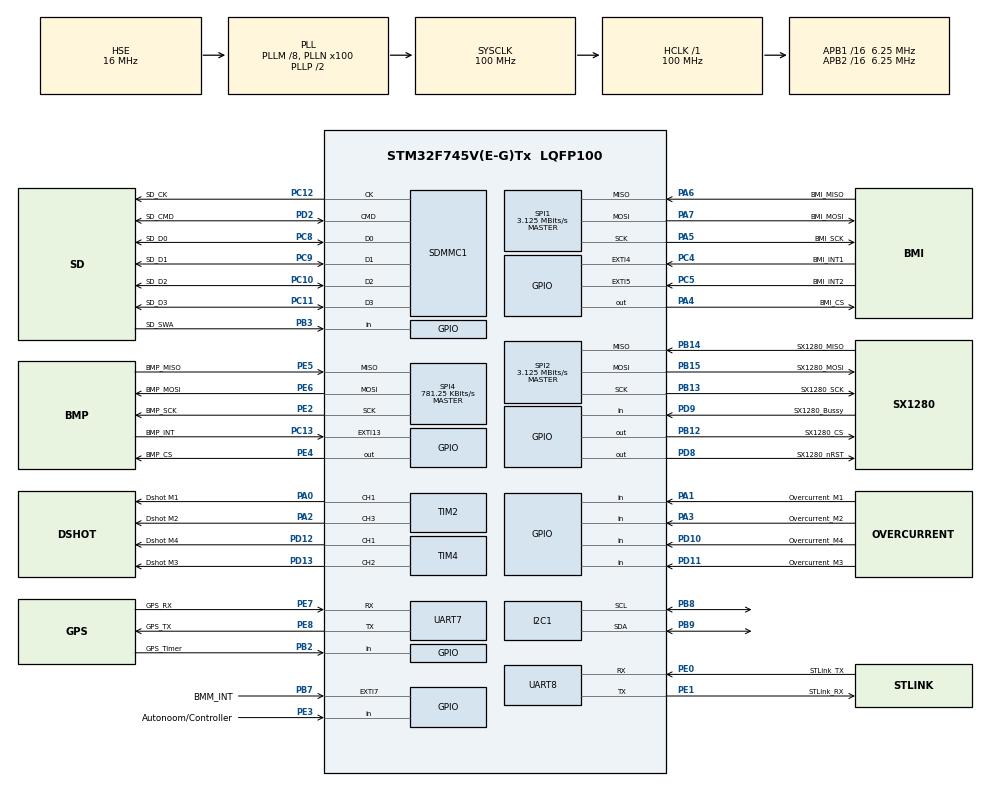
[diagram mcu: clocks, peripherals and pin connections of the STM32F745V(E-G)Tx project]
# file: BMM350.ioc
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CORTEX_M7.default_mode_Activation=1
Dma.Request0=TIM4_CH1
Dma.Request1=TIM4_CH2
Dma.Request2=TIM2_UP/CH3
Dma.Request3=TIM2_CH1
Dma.TIM2_CH1.3.Direction=DMA_MEMORY_TO_PERIPH
Dma.TIM2_CH1.3.FIFOMode=DMA_FIFOMODE_DISABLE
Dma.TIM2_CH1.3.Instance=DMA1_Stream5
Dma.TIM2_CH1.3.MemDataAlignment=DMA_MDATAALIGN_WORD
Dma.TIM2_CH1.3.MemInc=DMA_MINC_ENABLE
Dma.TIM2_CH1.3.Mode=DMA_NORMAL
Dma.TIM2_CH1.3.PeriphDataAlignment=DMA_PDATAALIGN_WORD
Dma.TIM2_CH1.3.PeriphInc=DMA_PINC_DISABLE
Dma.TIM2_CH1.3.Priority=DMA_PRIORITY_VERY_HIGH
Dma.TIM2_UP/CH3.2.Direction=DMA_MEMORY_TO_PERIPH
Dma.TIM2_UP/CH3.2.FIFOMode=DMA_FIFOMODE_DISABLE
Dma.TIM2_UP/CH3.2.Instance=DMA1_Stream1
Dma.TIM2_UP/CH3.2.MemDataAlignment=DMA_MDATAALIGN_WORD
Dma.TIM2_UP/CH3.2.MemInc=DMA_MINC_ENABLE
Dma.TIM2_UP/CH3.2.Mode=DMA_NORMAL
Dma.TIM2_UP/CH3.2.PeriphDataAlignment=DMA_PDATAALIGN_WORD
Dma.TIM2_UP/CH3.2.PeriphInc=DMA_PINC_DISABLE
Dma.TIM2_UP/CH3.2.Priority=DMA_PRIORITY_VERY_HIGH
Dma.TIM4_CH1.0.Direction=DMA_MEMORY_TO_PERIPH
Dma.TIM4_CH1.0.FIFOMode=DMA_FIFOMODE_DISABLE
Dma.TIM4_CH1.0.Instance=DMA1_Stream0
Dma.TIM4_CH1.0.MemDataAlignment=DMA_MDATAALIGN_HALFWORD
Dma.TIM4_CH1.0.MemInc=DMA_MINC_ENABLE
Dma.TIM4_CH1.0.Mode=DMA_NORMAL
Dma.TIM4_CH1.0.PeriphDataAlignment=DMA_PDATAALIGN_HALFWORD
Dma.TIM4_CH1.0.PeriphInc=DMA_PINC_DISABLE
Dma.TIM4_CH1.0.Priority=DMA_PRIORITY_VERY_HIGH
Dma.TIM4_CH2.1.Direction=DMA_MEMORY_TO_PERIPH
Dma.TIM4_CH2.1.FIFOMode=DMA_FIFOMODE_DISABLE
Dma.TIM4_CH2.1.Instance=DMA1_Stream3
Dma.TIM4_CH2.1.MemDataAlignment=DMA_MDATAALIGN_HALFWORD
Dma.TIM4_CH2.1.MemInc=DMA_MINC_ENABLE
Dma.TIM4_CH2.1.Mode=DMA_NORMAL
Dma.TIM4_CH2.1.PeriphDataAlignment=DMA_PDATAALIGN_HALFWORD
Dma.TIM4_CH2.1.PeriphInc=DMA_PINC_DISABLE
Dma.TIM4_CH2.1.Priority=DMA_PRIORITY_VERY_HIGH
FATFS.BSP.number=1
FATFS0.BSP.STBoard=false
FATFS0.BSP.api=Unknown
FATFS0.BSP.instance=PB3
FATFS0.BSP.ip=GPIO
FATFS0.BSP.mode=Input
FATFS0.BSP.name=Detect_SDIO
FATFS0.BSP.solution=PB3
I2C1.Timing=0x00101622
Mcu.Family=STM32F7
Mcu.Name=STM32F745V(E-G)Tx
Mcu.Package=LQFP100
NVIC.DMA1_Stream0_IRQn=true\:0\:0\:false\:false\:true\:false\:true\:true
NVIC.DMA1_Stream1_IRQn=true\:0\:0\:false\:false\:true\:false\:true\:true
NVIC.DMA1_Stream3_IRQn=true\:0\:0\:false\:false\:true\:false\:true\:true
NVIC.DMA1_Stream5_IRQn=true\:0\:0\:false\:false\:true\:false\:true\:true
NVIC.EXTI15_10_IRQn=true\:0\:0\:false\:false\:true\:true\:true\:true
NVIC.EXTI4_IRQn=true\:3\:0\:true\:false\:true\:true\:true\:true
NVIC.EXTI9_5_IRQn=true\:3\:0\:true\:false\:true\:true\:true\:true
NVIC.PriorityGroup=NVIC_PRIORITYGROUP_4
PA0/WKUP.GPIO_Label=Dshot M1
PA0/WKUP.Signal=S_TIM2_CH1_ETR
PA1.GPIO_Label=Overcurrent_M1
PA1.Signal=GPIO_Input
PA13.GPIO_Label=STLink_DIO
PA13.Mode=Serial_Wire
PA13.Signal=SYS_JTMS-SWDIO
PA14.GPIO_Label=STLink_CLK
PA14.Mode=Serial_Wire
PA14.Signal=SYS_JTCK-SWCLK
PA2.GPIO_Label=Dshot M2
PA2.Signal=S_TIM2_CH3
PA3.GPIO_Label=Overcurrent_M2
PA3.Signal=GPIO_Input
PA4.GPIO_Label=BMI_CS
PA4.Signal=GPIO_Output
PA5.GPIO_Label=BMI_SCK
PA5.Mode=Full_Duplex_Master
PA5.Signal=SPI1_SCK
PA6.GPIO_Label=BMI_MISO
PA6.Mode=Full_Duplex_Master
PA6.Signal=SPI1_MISO
PA7.GPIO_Label=BMI_MOSI
PA7.Mode=Full_Duplex_Master
PA7.Signal=SPI1_MOSI
PB12.GPIO_Label=SX1280_CS
PB12.Signal=GPIO_Output
PB13.GPIO_Label=SX1280_SCK
PB13.Mode=Full_Duplex_Master
PB13.Signal=SPI2_SCK
PB14.GPIO_Label=SX1280_MISO
PB14.Mode=Full_Duplex_Master
PB14.Signal=SPI2_MISO
PB15.GPIO_Label=SX1280_MOSI
PB15.Mode=Full_Duplex_Master
PB15.Signal=SPI2_MOSI
PB2.GPIO_Label=GPS_Timer
PB2.Signal=GPIO_Input
PB3.GPIO_Label=SD_SWA
PB3.Signal=GPIO_Input
PB7.GPIO_Label=BMM_INT
PB7.Signal=GPXTI7
PB8.Mode=I2C
PB8.Signal=I2C1_SCL
PB9.Mode=I2C
PB9.Signal=I2C1_SDA
PC10.GPIO_Label=SD_D2
PC10.Mode=SD_4_bits_Wide_bus
PC10.Signal=SDMMC1_D2
PC11.GPIO_Label=SD_D3
PC11.Mode=SD_4_bits_Wide_bus
PC11.Signal=SDMMC1_D3
PC12.GPIO_Label=SD_CK
PC12.Mode=SD_4_bits_Wide_bus
PC12.Signal=SDMMC1_CK
PC13.GPIO_Label=BMP_INT
PC13.Signal=GPXTI13
PC4.GPIO_Label=BMI_INT1
PC4.Signal=GPXTI4
PC5.GPIO_Label=BMI_INT2
PC5.Signal=GPXTI5
PC8.GPIO_Label=SD_D0
PC8.Mode=SD_4_bits_Wide_bus
PC8.Signal=SDMMC1_D0
PC9.GPIO_Label=SD_D1
PC9.Mode=SD_4_bits_Wide_bus
PC9.Signal=SDMMC1_D1
PD10.GPIO_Label=Overcurrent_M4
PD10.Signal=GPIO_Input
PD11.GPIO_Label=Overcurrent_M3
PD11.Signal=GPIO_Input
PD12.GPIO_Label=Dshot M4
PD12.Signal=S_TIM4_CH1
PD13.GPIO_Label=Dshot M3
PD13.Signal=S_TIM4_CH2
PD2.GPIO_Label=SD_CMD
PD2.Mode=SD_4_bits_Wide_bus
PD2.Signal=SDMMC1_CMD
PD8.GPIO_Label=SX1280_nRST
PD8.Signal=GPIO_Output
PD9.GPIO_Label=SX1280_Bussy
PD9.Signal=GPIO_Input
PE0.GPIO_Label=STLink_TX
PE0.Mode=Asynchronous
PE0.Signal=UART8_RX
PE1.GPIO_Label=STLink_RX
PE1.Mode=Asynchronous
PE1.Signal=UART8_TX
PE2.GPIO_Label=BMP_SCK
PE2.Mode=Full_Duplex_Master
PE2.Signal=SPI4_SCK
PE3.GPIO_Label=Autonoom/Controller
PE3.Signal=GPIO_Input
PE4.GPIO_Label=BMP_CS
PE4.Signal=GPIO_Output
PE5.GPIO_Label=BMP_MISO
PE5.Mode=Full_Duplex_Master
PE5.Signal=SPI4_MISO
PE6.GPIO_Label=BMP_MOSI
PE6.Mode=Full_Duplex_Master
PE6.Signal=SPI4_MOSI
PE7.GPIO_Label=GPS_RX
PE7.Mode=Asynchronous
PE7.Signal=UART7_RX
PE8.GPIO_Label=GPS_TX
PE8.Mode=Asynchronous
PE8.Signal=UART7_TX
PH0/OSC_IN.Mode=HSE-External-Oscillator
PH0/OSC_IN.Signal=RCC_OSC_IN
PH1/OSC_OUT.Mode=HSE-External-Oscillator
PH1/OSC_OUT.Signal=RCC_OSC_OUT
ProjectManager.HeapSize=0x200
ProjectManager.StackSize=0x400
ProjectManager.TargetToolchain=STM32CubeIDE
RCC.AHBFreq_Value=100000000
RCC.APB1CLKDivider=RCC_HCLK_DIV16
RCC.APB1Freq_Value=6250000
RCC.APB1TimFreq_Value=12500000
RCC.APB2CLKDivider=RCC_HCLK_DIV16
RCC.APB2Freq_Value=6250000
RCC.APB2TimFreq_Value=12500000
RCC.CortexFreq_Value=100000000
RCC.HCLKFreq_Value=100000000
RCC.HSE_VALUE=16000000
RCC.HSI_VALUE=16000000
RCC.LSE_VALUE=32768
RCC.PLLM=8
RCC.PLLN=100
RCC.PLLQ=4
RCC.PLLSourceVirtual=RCC_PLLSOURCE_HSE
RCC.SDMMCClockSelection=RCC_SDMMC1CLKSOURCE_CLK48
RCC.SYSCLKFreq_VALUE=100000000
RCC.SYSCLKSource=RCC_SYSCLKSOURCE_PLLCLK
RCC.USBFreq_Value=50000000
RCC.VCOOutputFreq_Value=200000000
SDMMC1.ClockBypass=SDMMC_CLOCK_BYPASS_DISABLE
SH.S_TIM2_CH1_ETR.0=TIM2_CH1,PWM Generation1 CH1
SH.S_TIM2_CH3.0=TIM2_CH3,PWM Generation3 CH3
SH.S_TIM4_CH1.0=TIM4_CH1,PWM Generation1 CH1
SH.S_TIM4_CH2.0=TIM4_CH2,PWM Generation2 CH2
SPI1.CLKPhase=SPI_PHASE_2EDGE
SPI1.CLKPolarity=SPI_POLARITY_HIGH
SPI1.CalculateBaudRate=3.125 MBits/s
SPI1.DataSize=SPI_DATASIZE_8BIT
SPI1.Direction=SPI_DIRECTION_2LINES
SPI1.Mode=SPI_MODE_MASTER
SPI1.VirtualType=VM_MASTER
SPI2.BaudRatePrescaler=SPI_BAUDRATEPRESCALER_2
SPI2.CalculateBaudRate=3.125 MBits/s
SPI2.DataSize=SPI_DATASIZE_8BIT
SPI2.Direction=SPI_DIRECTION_2LINES
SPI2.Mode=SPI_MODE_MASTER
SPI2.NSSPMode=SPI_NSS_PULSE_DISABLE
SPI2.VirtualType=VM_MASTER
SPI4.BaudRatePrescaler=SPI_BAUDRATEPRESCALER_8
SPI4.CLKPhase=SPI_PHASE_1EDGE
SPI4.CLKPolarity=SPI_POLARITY_LOW
SPI4.CalculateBaudRate=781.25 KBits/s
SPI4.DataSize=SPI_DATASIZE_8BIT
SPI4.Direction=SPI_DIRECTION_2LINES
SPI4.Mode=SPI_MODE_MASTER
SPI4.VirtualType=VM_MASTER
TIM2.Channel-PWM\ Generation1\ CH1=TIM_CHANNEL_1
TIM2.Channel-PWM\ Generation3\ CH3=TIM_CHANNEL_3
TIM4.Channel-PWM\ Generation1\ CH1=TIM_CHANNEL_1
TIM4.Channel-PWM\ Generation2\ CH2=TIM_CHANNEL_2
VP_FATFS_VS_SDIO.Mode=SDIO
board=custom

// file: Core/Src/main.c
/* USER CODE BEGIN Header */
/**
  ******************************************************************************
  * @file           : main.c
  * @brief          : Main program body
  ******************************************************************************
  * @attention
  *
  * Copyright (c) 2026 STMicroelectronics.
  * All rights reserved.
  *
  * This software is licensed under terms that can be found in the LICENSE file
  * in the root directory of this software component.
  * If no LICENSE file comes with this software, it is provided AS-IS.
  *
  ******************************************************************************
  */
/* USER CODE END Header */
#include "main.h"
#include "fatfs.h"

/* USER CODE BEGIN Includes */
#include "stdio.h"
#include "bmm350zelf.h"
//#include "BMM350.h"
//#include "BMI330.h"
//#include "pid_regulator.h"
/* USER CODE END Includes */

I2C_HandleTypeDef hi2c1;

SD_HandleTypeDef hsd1;

SPI_HandleTypeDef hspi1;
SPI_HandleTypeDef hspi2;
SPI_HandleTypeDef hspi4;

TIM_HandleTypeDef htim2;
TIM_HandleTypeDef htim4;
DMA_HandleTypeDef hdma_tim2_up_ch3;
DMA_HandleTypeDef hdma_tim2_ch1;
DMA_HandleTypeDef hdma_tim4_ch1;
DMA_HandleTypeDef hdma_tim4_ch2;

UART_HandleTypeDef huart7;
UART_HandleTypeDef huart8;

/* USER CODE BEGIN PV */
//BMP384_Calib calibData;

/*
PID_Handle_t struct_PidRateRoll;
PID_Handle_t struct_PidRatePitch;
PID_Handle_t struct_PidRateYaw;
BMM350_MagData BMM350_Data;
BMI330_Frame current_data;
*/

float g_hoogte;
float g_druk;
float g_hoek;
int g_acc;
int g_gyr;
float alpha = 0.98; // hoe hoger hoe meer de acc gaat doortellen
float dt = 0.02;   // voor 50hz
float gefilterde_hoogte = 0;
float verticale_snelheid = 0;
uint8_t returnwaarde = 0;
BMM350_MagData data;
/* USER CODE END PV */

void SystemClock_Config(void);
static void MPU_Config(void);
static void MX_GPIO_Init(void);
static void MX_DMA_Init(void);
static void MX_SDMMC1_SD_Init(void);
static void MX_SPI1_Init(void);
static void MX_SPI2_Init(void);
static void MX_SPI4_Init(void);
static void MX_TIM2_Init(void);
static void MX_TIM4_Init(void);
static void MX_UART7_Init(void);
static void MX_UART8_Init(void);
static void MX_I2C1_Init(void);

/* USER CODE BEGIN 0 */

volatile int g_new_magn_data = 0;

int _write(int file, char *ptr, int len) {
	for(int i = 0; i < len; i++){
		if(ptr[i]=='\n'){
			HAL_UART_Transmit(&huart8, (uint8_t*)"\r", 1, HAL_MAX_DELAY);
		}
		HAL_UART_Transmit(&huart8, (uint8_t*)&ptr[i], 1, HAL_MAX_DELAY);
	}
    return len;
}
/*
void Update_Altitude_Filter(float baro_hoogte, float acc_z_m_s2) {
    verticale_snelheid += acc_z_m_s2 * dt;
    float voorspelde_hoogte = gefilterde_hoogte + (verticale_snelheid * dt);
    gefilterde_hoogte = (alpha * voorspelde_hoogte) + ((1 - alpha) * baro_hoogte);
}
*/
/* USER CODE END 0 */

int main(void)
{

  /* MPU Configuration--------------------------------------------------------*/
  MPU_Config();

  /* MCU Configuration--------------------------------------------------------*/

  /* Reset of all peripherals, Initializes the Flash interface and the Systick. */
  HAL_Init();

  /* USER CODE BEGIN Init */
 /* Init_RateLoops();

  PID_HandleInit(struct_PidRateRoll);
  PID_HandleInit(struct_PidRatePitch);
  PID_HandleInit(struct_PidRateYaw);
  */
  //BMI330_Init();
  /* USER CODE END Init */

  /* Configure the system clock */
  SystemClock_Config();

  /* Initialize all configured peripherals */
  MX_GPIO_Init();
  MX_DMA_Init();
  MX_SDMMC1_SD_Init();
  MX_SPI1_Init();
  MX_SPI2_Init();
  MX_SPI4_Init();
  MX_TIM2_Init();
  MX_TIM4_Init();
  MX_UART7_Init();
  MX_FATFS_Init();
  MX_UART8_Init();
  MX_I2C1_Init();
  /* USER CODE BEGIN 2 */

  returnwaarde = BMM350_Init();
  while(returnwaarde == -1){
	  returnwaarde = BMM350_Init();
	  printf("Init niet succesvol\n");
  }

  /* USER CODE END 2 */

  /* Infinite loop */
  /* USER CODE BEGIN WHILE */
  while (1)
  {
	  BMM350_ReadReg(BMM350_CHIP_ID, &chip_id, 1);
	  printf("Chip ID is %d != %d\n", chip_id, BMM350_EXPRECTED_ID);

	  BMM350_GetData(&data, 0, 0);
	  printf("BMM Data:\nX: %ld, Y: %ld, Z: %ld\n\n", data.x, data.y, data.z);
	  HAL_Delay(500);
	  if(g_new_magn_data == 1){
		  printf("\n\nNieuwe INT data: ");
		  BMM350_GetData(&data, 0, 0);
		  printf("BMM Data:\nX: %ld, Y: %ld, Z: %ld\n\n\n", data.x, data.y, data.z);
		  g_new_magn_data = 0;
	  }
    /* USER CODE END WHILE */

  }
}

void SystemClock_Config(void)
{
  RCC_OscInitTypeDef RCC_OscInitStruct = {0};
  RCC_ClkInitTypeDef RCC_ClkInitStruct = {0};

  /** Configure the main internal regulator output voltage
  */
  __HAL_RCC_PWR_CLK_ENABLE();
  __HAL_PWR_VOLTAGESCALING_CONFIG(PWR_REGULATOR_VOLTAGE_SCALE3);

  /** Initializes the RCC Oscillators according to the specified parameters
  * in the RCC_OscInitTypeDef structure.
  */
  RCC_OscInitStruct.OscillatorType = RCC_OSCILLATORTYPE_HSE;
  RCC_OscInitStruct.HSEState = RCC_HSE_ON;
  RCC_OscInitStruct.PLL.PLLState = RCC_PLL_ON;
  RCC_OscInitStruct.PLL.PLLSource = RCC_PLLSOURCE_HSE;
  RCC_OscInitStruct.PLL.PLLM = 8;
  RCC_OscInitStruct.PLL.PLLN = 100;
  RCC_OscInitStruct.PLL.PLLP = RCC_PLLP_DIV2;
  RCC_OscInitStruct.PLL.PLLQ = 4;
  if (HAL_RCC_OscConfig(&RCC_OscInitStruct) != HAL_OK)
  {
    Error_Handler();
  }

  /** Initializes the CPU, AHB and APB buses clocks
  */
  RCC_ClkInitStruct.ClockType = RCC_CLOCKTYPE_HCLK|RCC_CLOCKTYPE_SYSCLK
                              |RCC_CLOCKTYPE_PCLK1|RCC_CLOCKTYPE_PCLK2;
  RCC_ClkInitStruct.SYSCLKSource = RCC_SYSCLKSOURCE_PLLCLK;
  RCC_ClkInitStruct.AHBCLKDivider = RCC_SYSCLK_DIV1;
  RCC_ClkInitStruct.APB1CLKDivider = RCC_HCLK_DIV16;
  RCC_ClkInitStruct.APB2CLKDivider = RCC_HCLK_DIV16;

  if (HAL_RCC_ClockConfig(&RCC_ClkInitStruct, FLASH_LATENCY_3) != HAL_OK)
  {
    Error_Handler();
  }
}

static void MX_I2C1_Init(void)
{

  hi2c1.Instance = I2C1;
  hi2c1.Init.Timing = 0x00101622;
  hi2c1.Init.OwnAddress1 = 0;
  hi2c1.Init.AddressingMode = I2C_ADDRESSINGMODE_7BIT;
  hi2c1.Init.DualAddressMode = I2C_DUALADDRESS_DISABLE;
  hi2c1.Init.OwnAddress2 = 0;
  hi2c1.Init.OwnAddress2Masks = I2C_OA2_NOMASK;
  hi2c1.Init.GeneralCallMode = I2C_GENERALCALL_DISABLE;
  hi2c1.Init.NoStretchMode = I2C_NOSTRETCH_DISABLE;
  if (HAL_I2C_Init(&hi2c1) != HAL_OK)
  {
    Error_Handler();
  }

  /** Configure Analogue filter
  */
  if (HAL_I2CEx_ConfigAnalogFilter(&hi2c1, I2C_ANALOGFILTER_ENABLE) != HAL_OK)
  {
    Error_Handler();
  }

  /** Configure Digital filter
  */
  if (HAL_I2CEx_ConfigDigitalFilter(&hi2c1, 0) != HAL_OK)
  {
    Error_Handler();
  }

}

static void MX_SDMMC1_SD_Init(void)
{

  hsd1.Instance = SDMMC1;
  hsd1.Init.ClockEdge = SDMMC_CLOCK_EDGE_RISING;
  hsd1.Init.ClockBypass = SDMMC_CLOCK_BYPASS_DISABLE;
  hsd1.Init.ClockPowerSave = SDMMC_CLOCK_POWER_SAVE_DISABLE;
  hsd1.Init.BusWide = SDMMC_BUS_WIDE_1B;
  hsd1.Init.HardwareFlowControl = SDMMC_HARDWARE_FLOW_CONTROL_DISABLE;
  hsd1.Init.ClockDiv = 0;

}

static void MX_SPI1_Init(void)
{

  /* SPI1 parameter configuration*/
  hspi1.Instance = SPI1;
  hspi1.Init.Mode = SPI_MODE_MASTER;
  hspi1.Init.Direction = SPI_DIRECTION_2LINES;
  hspi1.Init.DataSize = SPI_DATASIZE_8BIT;
  hspi1.Init.CLKPolarity = SPI_POLARITY_HIGH;
  hspi1.Init.CLKPhase = SPI_PHASE_2EDGE;
  hspi1.Init.NSS = SPI_NSS_SOFT;
  hspi1.Init.BaudRatePrescaler = SPI_BAUDRATEPRESCALER_2;
  hspi1.Init.FirstBit = SPI_FIRSTBIT_MSB;
  hspi1.Init.TIMode = SPI_TIMODE_DISABLE;
  hspi1.Init.CRCCalculation = SPI_CRCCALCULATION_DISABLE;
  hspi1.Init.CRCPolynomial = 7;
  hspi1.Init.CRCLength = SPI_CRC_LENGTH_DATASIZE;
  hspi1.Init.NSSPMode = SPI_NSS_PULSE_DISABLE;
  if (HAL_SPI_Init(&hspi1) != HAL_OK)
  {
    Error_Handler();
  }

}

static void MX_SPI2_Init(void)
{

  /* SPI2 parameter configuration*/
  hspi2.Instance = SPI2;
  hspi2.Init.Mode = SPI_MODE_MASTER;
  hspi2.Init.Direction = SPI_DIRECTION_2LINES;
  hspi2.Init.DataSize = SPI_DATASIZE_8BIT;
  hspi2.Init.CLKPolarity = SPI_POLARITY_LOW;
  hspi2.Init.CLKPhase = SPI_PHASE_1EDGE;
  hspi2.Init.NSS = SPI_NSS_SOFT;
  hspi2.Init.BaudRatePrescaler = SPI_BAUDRATEPRESCALER_2;
  hspi2.Init.FirstBit = SPI_FIRSTBIT_MSB;
  hspi2.Init.TIMode = SPI_TIMODE_DISABLE;
  hspi2.Init.CRCCalculation = SPI_CRCCALCULATION_DISABLE;
  hspi2.Init.CRCPolynomial = 7;
  hspi2.Init.CRCLength = SPI_CRC_LENGTH_DATASIZE;
  hspi2.Init.NSSPMode = SPI_NSS_PULSE_DISABLE;
  if (HAL_SPI_Init(&hspi2) != HAL_OK)
  {
    Error_Handler();
  }

}

static void MX_SPI4_Init(void)
{

  /* SPI4 parameter configuration*/
  hspi4.Instance = SPI4;
  hspi4.Init.Mode = SPI_MODE_MASTER;
  hspi4.Init.Direction = SPI_DIRECTION_2LINES;
  hspi4.Init.DataSize = SPI_DATASIZE_8BIT;
  hspi4.Init.CLKPolarity = SPI_POLARITY_LOW;
  hspi4.Init.CLKPhase = SPI_PHASE_1EDGE;
  hspi4.Init.NSS = SPI_NSS_SOFT;
  hspi4.Init.BaudRatePrescaler = SPI_BAUDRATEPRESCALER_8;
  hspi4.Init.FirstBit = SPI_FIRSTBIT_MSB;
  hspi4.Init.TIMode = SPI_TIMODE_DISABLE;
  hspi4.Init.CRCCalculation = SPI_CRCCALCULATION_DISABLE;
  hspi4.Init.CRCPolynomial = 7;
  hspi4.Init.CRCLength = SPI_CRC_LENGTH_DATASIZE;
  hspi4.Init.NSSPMode = SPI_NSS_PULSE_ENABLE;
  if (HAL_SPI_Init(&hspi4) != HAL_OK)
  {
    Error_Handler();
  }

}

static void MX_TIM2_Init(void)
{

  TIM_MasterConfigTypeDef sMasterConfig = {0};
  TIM_OC_InitTypeDef sConfigOC = {0};

  htim2.Instance = TIM2;
  htim2.Init.Prescaler = 0;
  htim2.Init.CounterMode = TIM_COUNTERMODE_UP;
  htim2.Init.Period = 4294967295;
  htim2.Init.ClockDivision = TIM_CLOCKDIVISION_DIV1;
  htim2.Init.AutoReloadPreload = TIM_AUTORELOAD_PRELOAD_DISABLE;
  if (HAL_TIM_PWM_Init(&htim2) != HAL_OK)
  {
    Error_Handler();
  }
  sMasterConfig.MasterOutputTrigger = TIM_TRGO_RESET;
  sMasterConfig.MasterSlaveMode = TIM_MASTERSLAVEMODE_DISABLE;
  if (HAL_TIMEx_MasterConfigSynchronization(&htim2, &sMasterConfig) != HAL_OK)
  {
    Error_Handler();
  }
  sConfigOC.OCMode = TIM_OCMODE_PWM1;
  sConfigOC.Pulse = 0;
  sConfigOC.OCPolarity = TIM_OCPOLARITY_HIGH;
  sConfigOC.OCFastMode = TIM_OCFAST_DISABLE;
  if (HAL_TIM_PWM_ConfigChannel(&htim2, &sConfigOC, TIM_CHANNEL_1) != HAL_OK)
  {
    Error_Handler();
  }
  if (HAL_TIM_PWM_ConfigChannel(&htim2, &sConfigOC, TIM_CHANNEL_3) != HAL_OK)
  {
    Error_Handler();
  }
  HAL_TIM_MspPostInit(&htim2);

}

static void MX_TIM4_Init(void)
{

  TIM_MasterConfigTypeDef sMasterConfig = {0};
  TIM_OC_InitTypeDef sConfigOC = {0};

  htim4.Instance = TIM4;
  htim4.Init.Prescaler = 0;
  htim4.Init.CounterMode = TIM_COUNTERMODE_UP;
  htim4.Init.Period = 65535;
  htim4.Init.ClockDivision = TIM_CLOCKDIVISION_DIV1;
  htim4.Init.AutoReloadPreload = TIM_AUTORELOAD_PRELOAD_DISABLE;
  if (HAL_TIM_PWM_Init(&htim4) != HAL_OK)
  {
    Error_Handler();
  }
  sMasterConfig.MasterOutputTrigger = TIM_TRGO_RESET;
  sMasterConfig.MasterSlaveMode = TIM_MASTERSLAVEMODE_DISABLE;
  if (HAL_TIMEx_MasterConfigSynchronization(&htim4, &sMasterConfig) != HAL_OK)
  {
    Error_Handler();
  }
  sConfigOC.OCMode = TIM_OCMODE_PWM1;
  sConfigOC.Pulse = 0;
  sConfigOC.OCPolarity = TIM_OCPOLARITY_HIGH;
  sConfigOC.OCFastMode = TIM_OCFAST_DISABLE;
  if (HAL_TIM_PWM_ConfigChannel(&htim4, &sConfigOC, TIM_CHANNEL_1) != HAL_OK)
  {
    Error_Handler();
  }
  if (HAL_TIM_PWM_ConfigChannel(&htim4, &sConfigOC, TIM_CHANNEL_2) != HAL_OK)
  {
    Error_Handler();
  }
  HAL_TIM_MspPostInit(&htim4);

}

static void MX_UART7_Init(void)
{

  huart7.Instance = UART7;
  huart7.Init.BaudRate = 115200;
  huart7.Init.WordLength = UART_WORDLENGTH_8B;
  huart7.Init.StopBits = UART_STOPBITS_1;
  huart7.Init.Parity = UART_PARITY_NONE;
  huart7.Init.Mode = UART_MODE_TX_RX;
  huart7.Init.HwFlowCtl = UART_HWCONTROL_NONE;
  huart7.Init.OverSampling = UART_OVERSAMPLING_16;
  huart7.Init.OneBitSampling = UART_ONE_BIT_SAMPLE_DISABLE;
  huart7.AdvancedInit.AdvFeatureInit = UART_ADVFEATURE_NO_INIT;
  if (HAL_UART_Init(&huart7) != HAL_OK)
  {
    Error_Handler();
  }

}

static void MX_UART8_Init(void)
{

  huart8.Instance = UART8;
  huart8.Init.BaudRate = 115200;
  huart8.Init.WordLength = UART_WORDLENGTH_8B;
  huart8.Init.StopBits = UART_STOPBITS_1;
  huart8.Init.Parity = UART_PARITY_NONE;
  huart8.Init.Mode = UART_MODE_TX_RX;
  huart8.Init.HwFlowCtl = UART_HWCONTROL_NONE;
  huart8.Init.OverSampling = UART_OVERSAMPLING_16;
  huart8.Init.OneBitSampling = UART_ONE_BIT_SAMPLE_DISABLE;
  huart8.AdvancedInit.AdvFeatureInit = UART_ADVFEATURE_NO_INIT;
  if (HAL_UART_Init(&huart8) != HAL_OK)
  {
    Error_Handler();
  }

}

static void MX_DMA_Init(void)
{

  /* DMA controller clock enable */
  __HAL_RCC_DMA1_CLK_ENABLE();

  /* DMA interrupt init */
  /* DMA1_Stream0_IRQn interrupt configuration */
  HAL_NVIC_SetPriority(DMA1_Stream0_IRQn, 0, 0);
  HAL_NVIC_EnableIRQ(DMA1_Stream0_IRQn);
  /* DMA1_Stream1_IRQn interrupt configuration */
  HAL_NVIC_SetPriority(DMA1_Stream1_IRQn, 0, 0);
  HAL_NVIC_EnableIRQ(DMA1_Stream1_IRQn);
  /* DMA1_Stream3_IRQn interrupt configuration */
  HAL_NVIC_SetPriority(DMA1_Stream3_IRQn, 0, 0);
  HAL_NVIC_EnableIRQ(DMA1_Stream3_IRQn);
  /* DMA1_Stream5_IRQn interrupt configuration */
  HAL_NVIC_SetPriority(DMA1_Stream5_IRQn, 0, 0);
  HAL_NVIC_EnableIRQ(DMA1_Stream5_IRQn);

}

static void MX_GPIO_Init(void)
{
  GPIO_InitTypeDef GPIO_InitStruct = {0};

  /* GPIO Ports Clock Enable */
  __HAL_RCC_GPIOE_CLK_ENABLE();
  __HAL_RCC_GPIOC_CLK_ENABLE();
  __HAL_RCC_GPIOH_CLK_ENABLE();
  __HAL_RCC_GPIOA_CLK_ENABLE();
  __HAL_RCC_GPIOB_CLK_ENABLE();
  __HAL_RCC_GPIOD_CLK_ENABLE();

  /*Configure GPIO pin Output Level */
  HAL_GPIO_WritePin(BMP_CS_GPIO_Port, BMP_CS_Pin, GPIO_PIN_RESET);

  /*Configure GPIO pin Output Level */
  HAL_GPIO_WritePin(BMI_CS_GPIO_Port, BMI_CS_Pin, GPIO_PIN_RESET);

  /*Configure GPIO pin Output Level */
  HAL_GPIO_WritePin(SX1280_CS_GPIO_Port, SX1280_CS_Pin, GPIO_PIN_RESET);

  /*Configure GPIO pin Output Level */
  HAL_GPIO_WritePin(SX1280_nRST_GPIO_Port, SX1280_nRST_Pin, GPIO_PIN_RESET);

  /*Configure GPIO pin : Autonoom_Controller_Pin */
  GPIO_InitStruct.Pin = Autonoom_Controller_Pin;
  GPIO_InitStruct.Mode = GPIO_MODE_INPUT;
  GPIO_InitStruct.Pull = GPIO_NOPULL;
  HAL_GPIO_Init(Autonoom_Controller_GPIO_Port, &GPIO_InitStruct);

  /*Configure GPIO pin : BMP_CS_Pin */
  GPIO_InitStruct.Pin = BMP_CS_Pin;
  GPIO_InitStruct.Mode = GPIO_MODE_OUTPUT_PP;
  GPIO_InitStruct.Pull = GPIO_NOPULL;
  GPIO_InitStruct.Speed = GPIO_SPEED_FREQ_LOW;
  HAL_GPIO_Init(BMP_CS_GPIO_Port, &GPIO_InitStruct);

  /*Configure GPIO pins : BMP_INT_Pin BMI_INT1_Pin BMI_INT2_Pin */
  GPIO_InitStruct.Pin = BMP_INT_Pin|BMI_INT1_Pin|BMI_INT2_Pin;
  GPIO_InitStruct.Mode = GPIO_MODE_IT_RISING;
  GPIO_InitStruct.Pull = GPIO_NOPULL;
  HAL_GPIO_Init(GPIOC, &GPIO_InitStruct);

  /*Configure GPIO pins : Overcurrent_M1_Pin Overcurrent_M2_Pin */
  GPIO_InitStruct.Pin = Overcurrent_M1_Pin|Overcurrent_M2_Pin;
  GPIO_InitStruct.Mode = GPIO_MODE_INPUT;
  GPIO_InitStruct.Pull = GPIO_NOPULL;
  HAL_GPIO_Init(GPIOA, &GPIO_InitStruct);

  /*Configure GPIO pin : BMI_CS_Pin */
  GPIO_InitStruct.Pin = BMI_CS_Pin;
  GPIO_InitStruct.Mode = GPIO_MODE_OUTPUT_PP;
  GPIO_InitStruct.Pull = GPIO_NOPULL;
  GPIO_InitStruct.Speed = GPIO_SPEED_FREQ_LOW;
  HAL_GPIO_Init(BMI_CS_GPIO_Port, &GPIO_InitStruct);

  /*Configure GPIO pins : GPS_Timer_Pin SD_SWA_Pin */
  GPIO_InitStruct.Pin = GPS_Timer_Pin|SD_SWA_Pin;
  GPIO_InitStruct.Mode = GPIO_MODE_INPUT;
  GPIO_InitStruct.Pull = GPIO_NOPULL;
  HAL_GPIO_Init(GPIOB, &GPIO_InitStruct);

  /*Configure GPIO pin : SX1280_CS_Pin */
  GPIO_InitStruct.Pin = SX1280_CS_Pin;
  GPIO_InitStruct.Mode = GPIO_MODE_OUTPUT_PP;
  GPIO_InitStruct.Pull = GPIO_NOPULL;
  GPIO_InitStruct.Speed = GPIO_SPEED_FREQ_LOW;
  HAL_GPIO_Init(SX1280_CS_GPIO_Port, &GPIO_InitStruct);

  /*Configure GPIO pin : SX1280_nRST_Pin */
  GPIO_InitStruct.Pin = SX1280_nRST_Pin;
  GPIO_InitStruct.Mode = GPIO_MODE_OUTPUT_PP;
  GPIO_InitStruct.Pull = GPIO_NOPULL;
  GPIO_InitStruct.Speed = GPIO_SPEED_FREQ_LOW;
  HAL_GPIO_Init(SX1280_nRST_GPIO_Port, &GPIO_InitStruct);

  /*Configure GPIO pins : SX1280_Bussy_Pin Overcurrent_M4_Pin Overcurrent_M3_Pin */
  GPIO_InitStruct.Pin = SX1280_Bussy_Pin|Overcurrent_M4_Pin|Overcurrent_M3_Pin;
  GPIO_InitStruct.Mode = GPIO_MODE_INPUT;
  GPIO_InitStruct.Pull = GPIO_NOPULL;
  HAL_GPIO_Init(GPIOD, &GPIO_InitStruct);

  /*Configure GPIO pin : BMM_INT_Pin */
  GPIO_InitStruct.Pin = BMM_INT_Pin;
  GPIO_InitStruct.Mode = GPIO_MODE_IT_RISING;
  GPIO_InitStruct.Pull = GPIO_NOPULL;
  HAL_GPIO_Init(BMM_INT_GPIO_Port, &GPIO_InitStruct);

  /* EXTI interrupt init*/
  HAL_NVIC_SetPriority(EXTI4_IRQn, 3, 0);
  HAL_NVIC_EnableIRQ(EXTI4_IRQn);

  HAL_NVIC_SetPriority(EXTI9_5_IRQn, 3, 0);
  HAL_NVIC_EnableIRQ(EXTI9_5_IRQn);

  HAL_NVIC_SetPriority(EXTI15_10_IRQn, 0, 0);
  HAL_NVIC_EnableIRQ(EXTI15_10_IRQn);

}

/* USER CODE BEGIN 4 */
/*
void Update_Motors(uint16_t throttle, int16_t roll, int16_t pitch, int16_t yaw) {
    int16_t m1 = throttle + pitch + roll - yaw; // Linksvoor
    int16_t m2 = throttle + pitch - roll + yaw; // Rechtsvoor
    int16_t m3 = throttle - pitch + roll + yaw; // Linksachter
    int16_t m4 = throttle - pitch - roll - yaw; // Rechtsachter
}
*/
void HAL_GPIO_EXTI_Callback(uint16_t GPIO_Pin)
{
/*
    if (GPIO_Pin == GPIO_PIN_4)	//INT1 van BMI
    {
    	float data[15];
    	int len = 15;
    	float roll, pitch;
    	BMI330_ReadFIFO(data, len);
    	BMI330_ParseFIFOFrame(&data, &current_data);
    	BMI330_GetAngles(current_data, roll, pitch);

    	printf("Data van de BMI INT1 pin: \n");
    	printf("Gyro data: X = %f, Y = %f, Z = %f \n", current_data->gyr_x, current_data->gyr_y, current_data->gyr_z);
    	printf("acc  data: X = %f, Y = %f, Z = %f \n", current_data->acc_x, current_data->acc_y, current_data->acc_z);
    	printf("temp: %f \n\n\n\n", current_data->sensor_temp);
    	g_temp = current_data->sensor_temp;
    	g_roll = roll;
    	g_pitch = pitch;
    	return;
    }

    if (GPIO_Pin == GPIO_PIN_5)	//INT2 van BMI
    {
    	return;
    }
    if (GPIO_Pin == GPIO_PIN_7)	//INT van BMM350
    {
    	float roll, pitch;
    	BMI330_GetAngles(current_data, &roll, &pitch);
    	BMM350_GetData(&BMM350_Data, roll, pitch);
    	float hoek = BMM350_Data.richting;

    	// calibrate is iets wat we eenmalig moeten doen, hieruit halen we de vaste ofset waardes die we daarna kunnen gebruiken
    	BMM350_Calibrate(BMM350_Data.x, BMM350_Data.y, BMM350_Data.z, BMM350_Data.x_offset, BMM350_Data.y_offset, BMM350_Data.z_offset);
    	printf("BMM350 Data: \n");
    	printf("BMM350 Raw Data: x = %d, Y = %d, Z = %d \n\n", BMM350_Data.x, BMM350_Data.y, BMM350_Data.z);

    	// enkel de laatste offset meting is belangerijk want dan heb je de uiterste bereikt
    	printf("BMM350 offsets Data: x = %d, Y = %d, Z = %d \n\n\n\n", BMM350_Data.x_offset, BMM350_Data.y_offset, BMM350_Data.z_offset);

    	g_hoek = hoek;
    	return;
    }
    if (GPIO_Pin == GPIO_PIN_13) //INT van BMP
    {
    	float druk = BMP384_ReadData();
    	float hoogte = BMP384_CalculateAltitude(druk);

    	printf("BMP384 Data: \n");
    	printf("BMP druk = %f, hoogte = %f", druk, hoogte);
    	g_druk = druk;
    	g_hoogte = hoogte;
    	return;
    }
*/
	if (GPIO_Pin == GPIO_PIN_13)	//INT van BMP
    	{
			g_new_magn_data = 1;
    		return;
    	}
}
/* USER CODE END 4 */

 /* MPU Configuration */

void MPU_Config(void)
{
  MPU_Region_InitTypeDef MPU_InitStruct = {0};

  /* Disables the MPU */
  HAL_MPU_Disable();

  /** Initializes and configures the Region and the memory to be protected
  */
  MPU_InitStruct.Enable = MPU_REGION_ENABLE;
  MPU_InitStruct.Number = MPU_REGION_NUMBER0;
  MPU_InitStruct.BaseAddress = 0x0;
  MPU_InitStruct.Size = MPU_REGION_SIZE_4GB;
  MPU_InitStruct.SubRegionDisable = 0x87;
  MPU_InitStruct.TypeExtField = MPU_TEX_LEVEL0;
  MPU_InitStruct.AccessPermission = MPU_REGION_NO_ACCESS;
  MPU_InitStruct.DisableExec = MPU_INSTRUCTION_ACCESS_DISABLE;
  MPU_InitStruct.IsShareable = MPU_ACCESS_SHAREABLE;
  MPU_InitStruct.IsCacheable = MPU_ACCESS_NOT_CACHEABLE;
  MPU_InitStruct.IsBufferable = MPU_ACCESS_NOT_BUFFERABLE;

  HAL_MPU_ConfigRegion(&MPU_InitStruct);
  /* Enables the MPU */
  HAL_MPU_Enable(MPU_PRIVILEGED_DEFAULT);

}

void Error_Handler(void)
{
  __disable_irq();
  while (1)
  {
  }
}
